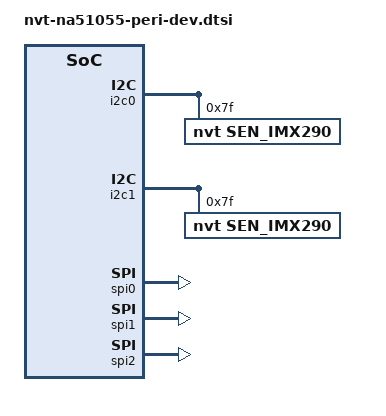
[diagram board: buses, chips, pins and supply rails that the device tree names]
/*
 * Novatek Ltd. NA51055 BSP part of dts
 *
 * Cortex-A9
 *
 */


#include <dt-bindings/gpio/nvt-gpio.h>

&i2c0 {
	#address-cells = <1>;
	#size-cells = <0>;
	sen_imx290@1 {
		compatible = "nvt,sen_imx290";
		reg = <0x7F>;                       /* dummy addr */
		path = <1>;
		PRESET {
			expt_time = <10000>;            /* 10000us */
			gain_ratio = <1000>;            /* 1x gain */        
		};
		DIRECTION {
			mirror = <0>;                   /* mirror */
			flip = <0>;                     /* no flip */
		};
		POWER {
			mclk = <0>;                     /* CTL_SEN_CLK_SEL_SIEMCLK */
			pwdn_pin = <0xFFFFFFFF>;        /* no pwdn pin */   
			rst_pin = <S_GPIO(4)>;          /* S_GPIO_4 */
			rst_time = <1>;                 /* 1ms */
			stable_time = <1>;              /* 1ms */
		};
		I2C {
			i2c_id = <0>;                   /* SEN_I2C_ID_1 */
			i2c_addr = <0x1A>;              /* 0x34 >> 1  = 0x1A */
		};
	};
};

&i2c1 {
	#address-cells = <1>;
	#size-cells = <0>;
	sen_imx290@0 {
		compatible = "nvt,sen_imx290"; 
		reg = <0x7F>;                       /* dummy addr */
		path = <0>;
		PRESET {
			expt_time = <10000>;            /* 10000us */
			gain_ratio = <1000>;            /* 1x gain */        
 		};
		DIRECTION {
			mirror = <0>;                   /* mirror */
			flip = <0>;                     /* no flip */
		};
		POWER {
			mclk = <0>;                     /* CTL_SEN_CLK_SEL_SIEMCLK */
			pwdn_pin = <0xFFFFFFFF>;        /* no pwdn pin */   
			rst_pin = <S_GPIO(4)>;          /* S_GPIO_4 */
			rst_time = <1>;                 /* 1ms */
			stable_time = <1>;              /* 1ms */
		};
		I2C {
			i2c_id = <1>;                   /* SEN_I2C_ID_2 */
			i2c_addr = <0x1A>;              /* 0x34 >> 1  = 0x1A */
		};
	};
};

&i2c2 {
	#address-cells = <1>;
	#size-cells = <0>;
	/*
	dummy_i2c_dev: dummy_i2c@1a {
		compatible = "nvt,dummy_i2c_dev";
		reg = <0x1a>;
	};
	*/
};

&spi0 {
	status = "okay";
	#address-cells = <1>;
	#size-cells = <0>;

/*	dummy_spi_dev: dummy_spi_dev@0 {
		compatible = "dummy_spi_dev.0";
		reg = <0>; // Chip select 0
		spi-max-frequency = <1000000>;
		spi-cpol;
        };
*/
};

&spi1 {
	status = "okay";
};

&spi2 {
	status = "okay";
};
